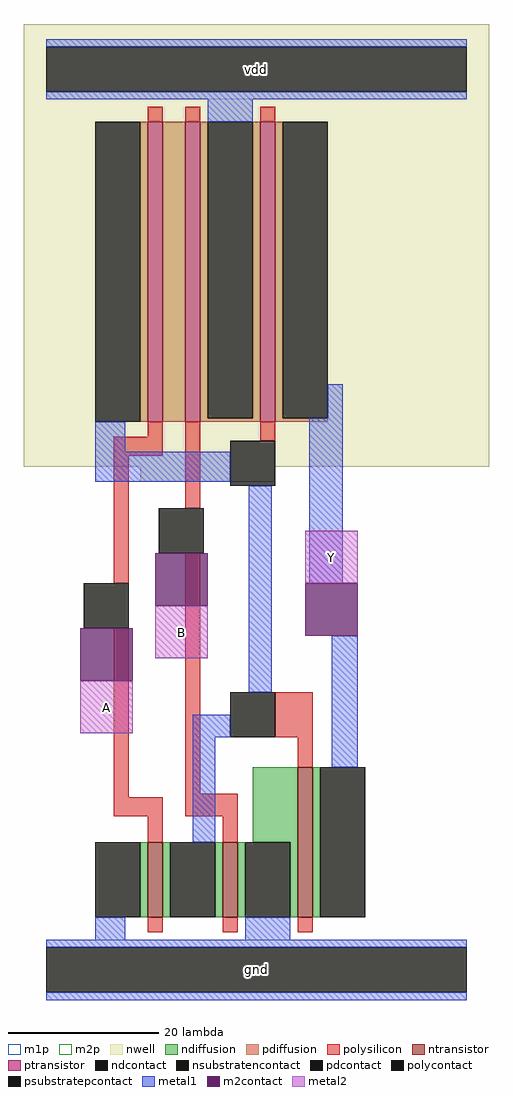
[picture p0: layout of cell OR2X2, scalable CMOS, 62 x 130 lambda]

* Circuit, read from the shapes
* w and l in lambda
.subckt OR2X2 A B Y vdd gnd
M1 n1 A gnd gnd nfet w=10 l=2
M2 gnd B n1 gnd nfet w=10 l=2
M3 Y n1 gnd gnd nfet w=20 l=2
M4 n2 A n1 vdd pfet w=40 l=2
M5 vdd B n2 vdd pfet w=40 l=2
M6 Y n1 vdd vdd pfet w=40 l=2
.ends

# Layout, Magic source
magic
tech scmos
magscale 1 2
<< nwell >>
rect -12 134 112 252
rect 19 130 55 134
<< ntransistor >>
rect 21 14 25 34
rect 41 14 45 34
rect 61 14 65 54
<< ptransistor >>
rect 21 146 25 226
rect 31 146 35 226
rect 51 146 55 226
<< ndiffusion >>
rect 49 34 61 54
rect 19 14 21 34
rect 25 14 27 34
rect 39 14 41 34
rect 45 14 47 34
rect 59 14 61 34
rect 65 14 67 54
<< pdiffusion >>
rect 19 146 21 226
rect 25 146 31 226
rect 35 147 37 226
rect 49 147 51 226
rect 35 146 51 147
rect 55 147 57 226
rect 55 146 69 147
<< ndcontact >>
rect 7 14 19 34
rect 27 14 39 34
rect 47 14 59 34
rect 67 14 79 54
<< pdcontact >>
rect 7 146 19 226
rect 37 147 49 226
rect 57 147 69 226
<< psubstratepcontact >>
rect -6 -6 106 6
<< nsubstratencontact >>
rect -6 234 106 246
<< polysilicon >>
rect 21 226 25 230
rect 31 226 35 230
rect 51 226 55 230
rect 21 142 25 146
rect 12 137 25 142
rect 12 103 16 137
rect 31 123 35 146
rect 51 141 55 146
rect 12 46 16 91
rect 31 47 35 111
rect 55 62 65 74
rect 61 54 65 62
rect 12 41 25 46
rect 31 41 45 47
rect 21 34 25 41
rect 41 34 45 41
rect 21 10 25 14
rect 41 10 45 14
rect 61 10 65 14
<< polycontact >>
rect 43 129 55 141
rect 24 111 36 123
rect 4 91 16 103
rect 43 62 55 74
<< metal1 >>
rect -6 246 106 248
rect -6 232 106 234
rect 37 226 49 232
rect 69 147 73 156
rect 7 138 15 146
rect 7 130 43 138
rect 48 74 54 129
rect 64 103 73 147
rect 33 62 43 68
rect 33 34 39 62
rect 70 54 77 89
rect 7 8 15 14
rect 47 8 59 14
rect -6 6 106 8
rect -6 -8 106 -6
<< m2contact >>
rect 23 97 37 111
rect 3 77 17 91
rect 63 89 77 103
<< metal2 >>
rect 23 83 37 97
rect 63 103 77 117
rect 3 63 17 77
<< m1p >>
rect -6 232 106 248
rect -6 -8 106 8
<< m2p >>
rect 63 103 77 117
rect 23 83 37 97
rect 3 63 17 77
<< labels >>
rlabel metal1 -6 -8 106 8 0 gnd
port 4 nsew ground bidirectional abutment
rlabel metal1 -6 232 106 248 0 vdd
port 3 nsew power bidirectional abutment
rlabel metal2 3 63 17 77 0 A
port 0 nsew signal input
rlabel metal2 23 83 37 97 0 B
port 1 nsew signal input
rlabel metal2 63 103 77 117 0 Y
port 2 nsew signal output
<< properties >>
string FIXED_BBOX 0 0 100 240
string LEFclass CORE
string LEFsite core
string LEFsymmetry X Y
<< end >>
